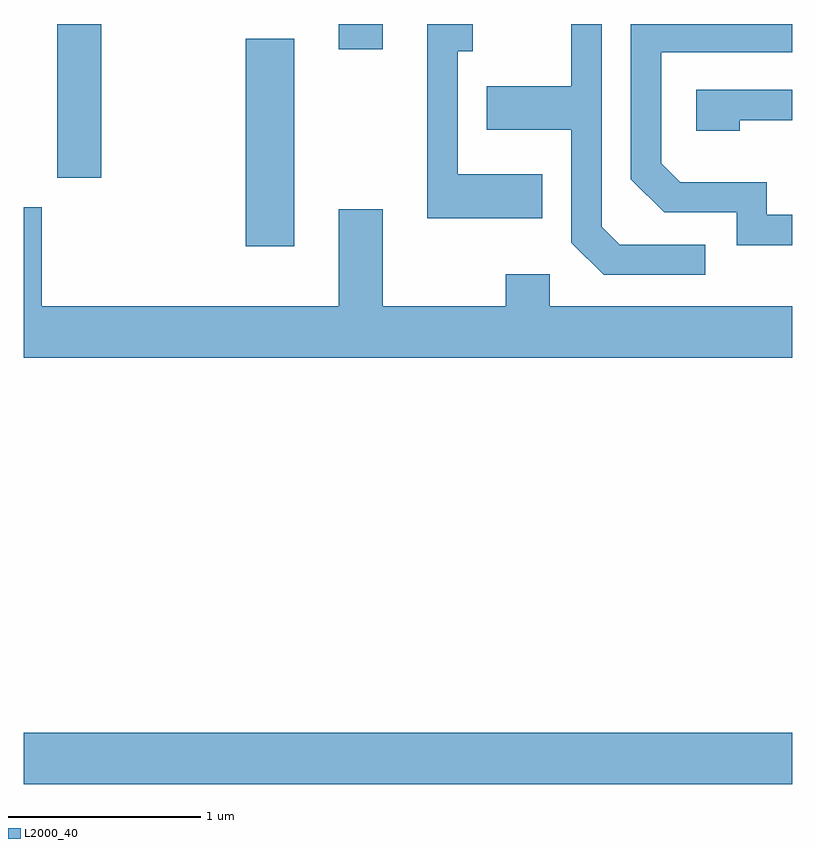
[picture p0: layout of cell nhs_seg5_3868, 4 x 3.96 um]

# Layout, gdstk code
import gdstk
lib = gdstk.Library(unit=1e-6, precision=1e-09)
def R(c, l, rs):  # rectangles x0, y0, x1, y1
    for r in rs: c.add(gdstk.rectangle(r[:2], r[2:], *l))
def P(c, l, *ps):  # polygons
    for p in ps: c.add(gdstk.Polygon(p, *l))
L2000_40 = (2000, 40)

nhs_seg5_3868 = lib.new_cell('nhs_seg5_3868')
R(nhs_seg5_3868, L2000_40, [(299.611,1470.116,303.611,1470.384), (300.766,1472.916,301.019,1473.994), (299.786,1473.271,300.014,1474.072), (301.251,1473.941,301.479,1474.072)])
P(nhs_seg5_3868, L2000_40, [(303.158,1472.924),(302.712,1472.924),(302.619,1473.017),(302.619,1474.072),(302.461,1474.072),(302.461,1473.749),(302.021,1473.749),(302.021,1473.521),(302.461,1473.521),(302.461,1472.934),(302.629,1472.766),(303.158,1472.766)],
  [(302.309,1473.289),(301.869,1473.289),(301.869,1473.931),(301.948,1473.931),(301.948,1474.072),(301.711,1474.072),(301.711,1473.061),(302.309,1473.061)],
  [(303.611,1473.079),(303.479,1473.079),(303.479,1473.249),(303.027,1473.249),(302.929,1473.347),(302.929,1473.926),(303.611,1473.926),(303.611,1474.072),(302.771,1474.072),(302.771,1473.264),(302.944,1473.091),(303.321,1473.091),(303.321,1472.921),(303.611,1472.921)],
  [(303.339,1473.571),(303.611,1473.571),(303.611,1473.729),(303.111,1473.729),(303.111,1473.516),(303.339,1473.516)],
  [(303.611,1472.604),(302.349,1472.604),(302.349,1472.769),(302.121,1472.769),(302.121,1472.604),(301.479,1472.604),(301.479,1473.109),(301.251,1473.109),(301.251,1472.604),(299.704,1472.604),(299.704,1473.119),(299.611,1473.119),(299.611,1472.336),(303.611,1472.336)])

lib.write_gds('nhs_seg5_3868.gds')
